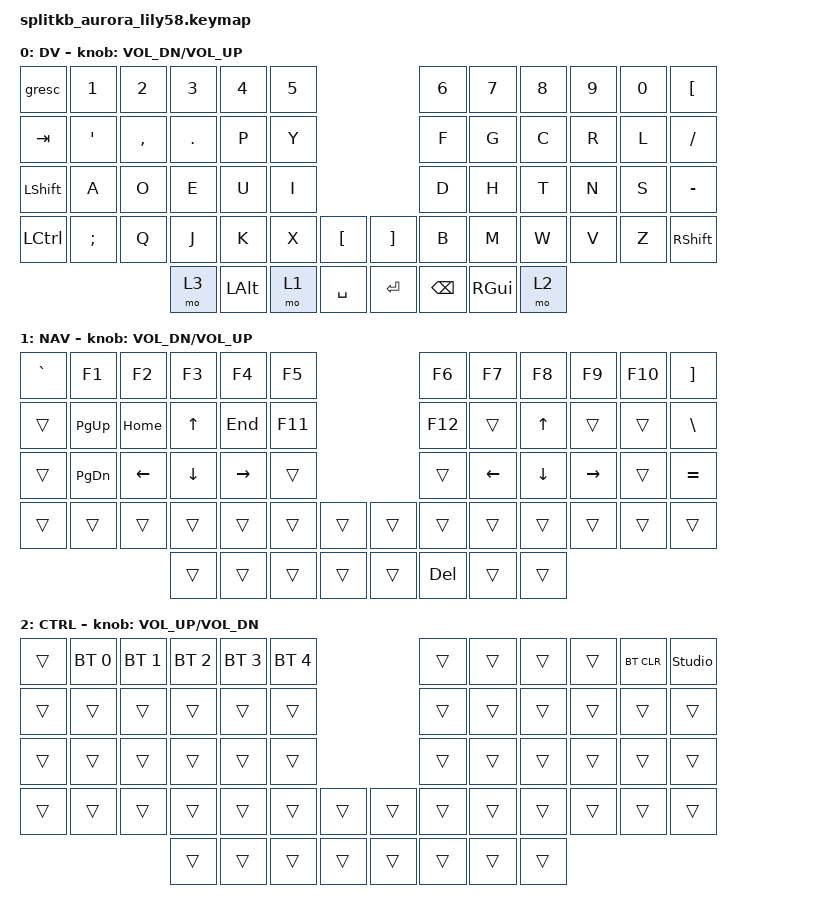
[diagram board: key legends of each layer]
/*
 * Copyright (c) 2022 The ZMK Contributors
 *
 * SPDX-License-Identifier: MIT
 */

#include <behaviors.dtsi>
#include <dt-bindings/zmk/keys.h>
#include <dt-bindings/zmk/bt.h>
#include <dt-bindings/zmk/ext_power.h>
#include <dt-bindings/zmk/mouse.h>
#include <behaviors/mouse_scroll.dtsi>


/ {
    keymap {
        compatible = "zmk,keymap";

        default_layer {
            display-name = "DV";
// ------------------------------------------------------------------------------------------------------------
// |  ESC  |  1  |  2  |  3   |  4   |  5   |                   |  6   |  7    |  8    |  9   |   0   |   [   |
// |  TAB  |  '  |  ,  |  .   |  P   |  Y   |                   |  F   |  G    |  C    |  R   |   L   |   /   |
// | SHIFT |  A  |  O  |  E   |  U   |  I   |                   |  D   |  H    |  T    |  N   |   S   |   -   |
// |  CTRL |  ;  |  Q  |  J   |  K   |  X   |    [   |  |   ]   |  B   |  M    |  W    |  V   |   Z   | SHIFT |
//                     | MO3  | ALT  | NAV  |  SPACE |  | ENTER | BSPC | GUI   | CTRL  |
            bindings = <
&gresc      &kp N1      &kp N2      &kp N3      &kp N4   &kp N5                             &kp N6      &kp N7   &kp N8     &kp N9  &kp N0  &kp LBKT
&kp TAB     &kp SQT     &kp COMMA   &kp PERIOD  &kp P    &kp Y                              &kp F       &kp G    &kp C      &kp R   &kp L   &kp SLASH
&kp LSHFT   &kp A       &kp O       &kp E       &kp U    &kp I                              &kp D       &kp H    &kp T      &kp N   &kp S   &kp MINUS
&kp LCTRL   &kp SEMI    &kp Q       &kp J       &kp K    &kp X      &kp LBKT    &kp RBKT    &kp B       &kp M    &kp W      &kp V   &kp Z   &kp RSHFT
                                    &mo 3       &kp LALT &mo 1      &kp SPACE   &kp RET     &kp BSPC    &kp RGUI &mo 2
            >;
            sensor-bindings = <&inc_dec_kp C_VOL_DN C_VOL_UP>;
        };

        lower_layer {
            display-name = "NAV";
// ------------------------------------------------------------------------------------------------------------
// |  `    |  F1 |  F2 |  F3  |  F4  |  F5  |                   |  F6  |  F7   |  F8   |  F9  |  F10  |   ]   |
// |       |     | PGUP| HOME |  ^   |  END |  F11              |  F12 |       |   ^   |      |       |   =   |
// |       |     | PGDN|   <  |  v   |  >   |                   |      |   <   |   V   |   >  |       |   \   |
// |       |     |     |      |      |      |        |  |       |      |       |       |      |       |       |
//                     |      |      |      |        |  |       |      |       |       |
            bindings = <
&kp GRAVE   &kp F1      &kp F2      &kp F3       &kp F4         &kp F5                          &kp F6      &kp F7      &kp F8      &kp F9      &kp F10 &kp RBKT
&trans      &kp PG_UP   &kp HOME    &kp UP       &kp END        &kp F11                         &kp F12     &trans      &kp UP      &trans      &trans  &kp BSLH
&trans      &kp PG_DN   &kp LEFT    &kp DOWN     &kp RIGHT      &trans                          &trans      &kp LEFT    &kp DOWN    &kp RIGHT   &trans  &kp EQUAL
&trans      &trans      &trans      &trans       &trans         &trans      &trans    &trans    &trans      &trans      &trans      &trans      &trans  &trans
                                    &trans       &trans         &trans      &trans    &trans    &kp DEL     &trans  &trans
            >;

            // sensor-bindings = <&inc_dec_kp SCRL_UP SCRL_DN>;
            sensor-bindings = <&inc_dec_kp C_VOL_DN C_VOL_UP>;
        };

        raise_layer {
            display-name = "CTRL";
// ------------------------------------------------------------------------------------------------------------
// |       |     |     |      |      |      |                   |      |       |       |      |       |       |
// |   `   |  1  |  2  |  3   |  4   |  5   |                   |  6   |   7   |   8   |  9   |   0   |       |
// |   F1  |  F2 |  F3 |  F4  |  F5  |  F6  |                   |      |   <-  |   v   |  ^   |  ->   |       |
// |   F7  |  F8 |  F9 |  F10 |  F11 |  F12 |        |  |       |  +   |   -   |   =   |  [   |   ]   |   \   |
//                     |      |      |      |        |  |       |      |       |       |
            bindings = <
&trans      &bt BT_SEL 0    &bt BT_SEL 1    &bt BT_SEL 2    &bt BT_SEL 3    &bt BT_SEL 4                        &trans  &trans  &trans  &trans  &bt BT_CLR  &studio_unlock
&trans      &trans          &trans          &trans          &trans          &trans                              &trans  &trans  &trans  &trans  &trans      &trans
&trans      &trans          &trans          &trans          &trans          &trans                              &trans  &trans  &trans  &trans  &trans      &trans
&trans      &trans          &trans          &trans          &trans          &trans          &trans    &trans    &trans  &trans  &trans  &trans  &trans      &trans
                                            &trans          &trans          &trans          &trans    &trans    &trans  &trans  &trans
            >;

            sensor-bindings = <&inc_dec_kp C_VOL_UP C_VOL_DN>;
        };

        extra_1 {
            status = "reserved";
        };

        extra_2 {
            status = "reserved";
        };

        extra_3 {
            status = "reserved";
        };
    };
};
